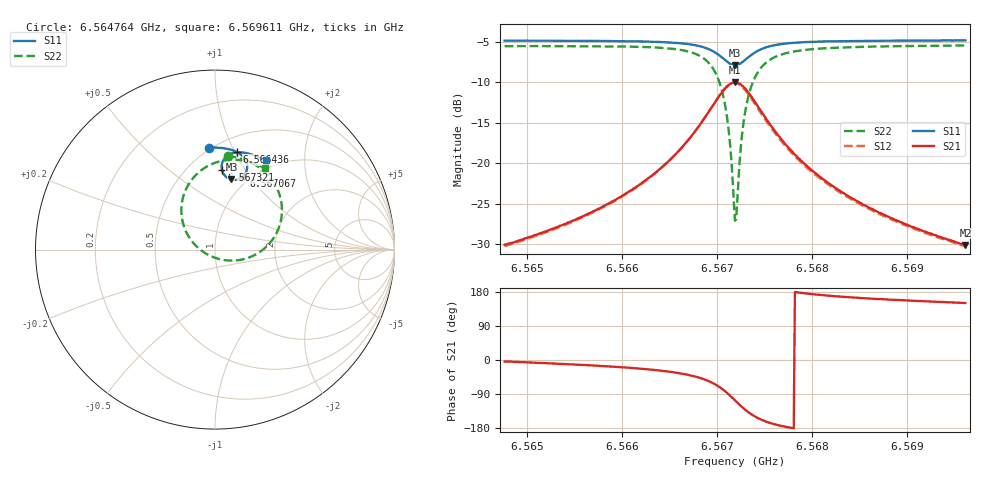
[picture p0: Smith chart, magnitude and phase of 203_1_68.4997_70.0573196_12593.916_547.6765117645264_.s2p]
#  HZ  S  RI  R  50.00
! Rohde & Schwarz Vector Network Analyzer
! Rohde-Schwarz,ZNB20-2Port,1311601062101988,3.16
! Created: UTC 3/20/2024, 5:12:49 PM
! freq[Hz]  re:S11  im:S11  re:S21  im:S21  re:S12  im:S12  re:S22  im:S22
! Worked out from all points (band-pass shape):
!   401 points, 6.564764 GHz to 6.569611 GHz, reference 50 ohm
!   highest |S21| = -10.04 dB at 6.567188 GHz (marker M1); lowest = -30.1 dB at 6.569611 GHz (marker M2)
!   |S21| within 3 dB of the highest: 6.566947 GHz to 6.567431 GHz (484.1 kHz wide, 0.00737 % of centre)
!   lowest |S11| = -7.9 dB at 6.567188 GHz (marker M3), VSWR 2.34, Z = 42.9 + j40 ohm
!   |S11| at or under -10 dB: nowhere
!   |S22| runs from -27.1 to -5.5 dB; largest |S21 - S12| = 0.016
!   S11 on the Smith chart (normalised r, x): 6.564764 GHz: 0.49, +0.82; 6.566436 GHz: 0.65, +1.02; 6.567067 GHz: 0.92, +0.94; 6.567321 GHz: 0.71, +0.79; 6.569611 GHz: 0.88, +1.30
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6.564764e9  -0.0313 0.5682  0.0314 -0.00229  0.0309 -0.00255  0.0708 0.5216
6.565576e9  0.037 0.5664  0.0456 -0.0105  0.0449 -0.011  0.1526 0.5039
6.5663879e9  0.1172 0.5464  0.0811 -0.0422  0.0799 -0.0431  0.2726 0.4373
6.5664364e9  0.1228 0.5436  0.0847 -0.0465  0.0834 -0.0477  0.2828 0.4283
6.5666908e9  0.155 0.5201  0.1073 -0.0867  0.1056 -0.0884  0.3414 0.3498
6.5668726e9  0.1764 0.4835  0.1185 -0.1506  0.1154 -0.1539  0.3731 0.2264
6.5669817e9  0.1777 0.446  0.1025 -0.2164  0.0965 -0.2208  0.347 0.101
6.5670665e9  0.1594 0.411  0.0534 -0.276  0.043 -0.2793  0.2554 -0.00941
6.567115e9  0.1369 0.3951  0.00391 -0.3013  -0.00913 -0.3015  0.1631 -0.0524
6.5671392e9  0.1228 0.3906  -0.0257 -0.3073  -0.0399 -0.3057  0.1085 -0.0611
6.5671756e9  0.0996 0.3893  -0.0734 -0.3058  -0.0877 -0.3001  0.0229 -0.0528
6.5671877e9  0.0919 0.3906  -0.0893 -0.302  -0.1032 -0.2951  -0.00479 -0.0441
6.5671998e9  0.0842 0.3928  -0.1045 -0.2966  -0.118 -0.2885  -0.0314 -0.0327
6.5672119e9  0.0771 0.3958  -0.1192 -0.2898  -0.132 -0.2806  -0.0566 -0.0185
6.5672604e9  0.0533 0.4143  -0.1676 -0.251  -0.1766 -0.2385  -0.136 0.0567
6.567321e9  0.0383 0.4447  -0.1998 -0.1909  -0.2034 -0.1776  -0.1828 0.1668
6.5674058e9  0.0401 0.4832  -0.2036 -0.1165  -0.2021 -0.1059  -0.1766 0.2967
6.567527e9  0.0617 0.5168  -0.1761 -0.0516  -0.1726 -0.0451  -0.1155 0.4064
6.5677088e9  0.0967 0.5368  -0.1327 -0.01  -0.1294 -0.00674  -0.0254 0.4731
6.5679996e9  0.1398 0.5422  -0.0897 0.00976  -0.0874 0.0112  0.0701 0.4993
6.5688115e9  0.2203 0.5244  -0.0436 0.0164  -0.0426 0.0167  0.2029 0.4847
6.5696113e9  0.2815 0.4965  -0.0273 0.0155  -0.0267 0.0155  0.2788 0.4523
